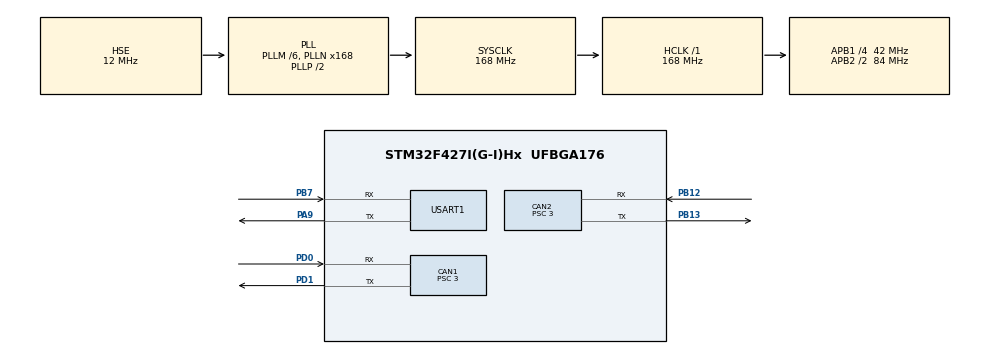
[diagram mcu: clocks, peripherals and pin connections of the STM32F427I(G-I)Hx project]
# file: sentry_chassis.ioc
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CAN1.BS1=CAN_BS1_9TQ
CAN1.BS2=CAN_BS2_4TQ
CAN1.CalculateBaudRate=1000000
CAN1.CalculateTimeBit=1000
CAN1.CalculateTimeQuantum=71.42857142857143
CAN1.Prescaler=3
CAN2.BS1=CAN_BS1_9TQ
CAN2.BS2=CAN_BS2_4TQ
CAN2.CalculateBaudRate=1000000
CAN2.CalculateTimeBit=1000
CAN2.CalculateTimeQuantum=71.42857142857143
CAN2.Prescaler=3
FREERTOS.Tasks01=ChassisTask,24,128,chassis_Task,Default,NULL,Dynamic,NULL,NULL;UartTask,8,128,Uart_task,Default,NULL,Dynamic,NULL,NULL;RemoteTask,8,128,Remote_Task,Default,NULL,Dynamic,NULL,NULL
FREERTOS.configUSE_NEWLIB_REENTRANT=1
Mcu.Family=STM32F4
Mcu.Name=STM32F427I(G-I)Hx
Mcu.Package=UFBGA176
NVIC.CAN1_RX1_IRQn=true\:5\:0\:false\:false\:true\:true\:true\:true\:true
NVIC.CAN1_TX_IRQn=true\:5\:0\:false\:false\:true\:true\:true\:true\:true
NVIC.CAN2_RX1_IRQn=true\:5\:0\:false\:false\:true\:true\:true\:true\:true
NVIC.CAN2_TX_IRQn=true\:5\:0\:false\:false\:true\:true\:true\:true\:true
NVIC.PriorityGroup=NVIC_PRIORITYGROUP_4
NVIC.TIM3_IRQn=true\:15\:0\:false\:false\:true\:false\:false\:true\:true
NVIC.TimeBase=TIM3_IRQn
NVIC.TimeBaseIP=TIM3
PA13.Mode=Serial_Wire
PA13.Signal=SYS_JTMS-SWDIO
PA14.Mode=Serial_Wire
PA14.Signal=SYS_JTCK-SWCLK
PA9.Mode=Asynchronous
PA9.Signal=USART1_TX
PB12.Mode=CAN_Activate
PB12.Signal=CAN2_RX
PB13.Mode=CAN_Activate
PB13.Signal=CAN2_TX
PB7.Mode=Asynchronous
PB7.Signal=USART1_RX
PD0.Mode=CAN_Activate
PD0.Signal=CAN1_RX
PD1.Mode=CAN_Activate
PD1.Signal=CAN1_TX
PH0/OSC_IN.Mode=HSE-External-Oscillator
PH0/OSC_IN.Signal=RCC_OSC_IN
PH1/OSC_OUT.Mode=HSE-External-Oscillator
PH1/OSC_OUT.Signal=RCC_OSC_OUT
ProjectManager.HeapSize=0x400
ProjectManager.StackSize=0x400
ProjectManager.TargetToolchain=STM32CubeIDE
RCC.48MHZClocksFreq_Value=84000000
RCC.AHBFreq_Value=168000000
RCC.APB1CLKDivider=RCC_HCLK_DIV4
RCC.APB1Freq_Value=42000000
RCC.APB1TimFreq_Value=84000000
RCC.APB2CLKDivider=RCC_HCLK_DIV2
RCC.APB2Freq_Value=84000000
RCC.APB2TimFreq_Value=168000000
RCC.CortexFreq_Value=168000000
RCC.HCLKFreq_Value=168000000
RCC.HSE_VALUE=12000000
RCC.HSI_VALUE=16000000
RCC.LSE_VALUE=32768
RCC.PLLM=6
RCC.PLLN=168
RCC.PLLSourceVirtual=RCC_PLLSOURCE_HSE
RCC.SYSCLKFreq_VALUE=168000000
RCC.SYSCLKSource=RCC_SYSCLKSOURCE_PLLCLK
RCC.VCOOutputFreq_Value=336000000
USART1.VirtualMode=VM_ASYNC
VP_FREERTOS_VS_CMSIS_V2.Mode=CMSIS_V2
VP_SYS_VS_tim3.Mode=TIM3
board=custom

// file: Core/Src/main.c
/* USER CODE BEGIN Header */
/**
  ******************************************************************************
  * @file           : main.c
  * @brief          : Main program body
  ******************************************************************************
  * @attention
  *
  * Copyright (c) 2024 STMicroelectronics.
  * All rights reserved.
  *
  * This software is licensed under terms that can be found in the LICENSE file
  * in the root directory of this software component.
  * If no LICENSE file comes with this software, it is provided AS-IS.
  *
  ******************************************************************************
  */
/* USER CODE END Header */
#include "main.h"
#include "cmsis_os.h"
#include "can.h"
#include "usart.h"
#include "gpio.h"

/* USER CODE BEGIN Includes */
#include "remote.h"
#include "bsp_can.h"
/* USER CODE END Includes */

void SystemClock_Config(void);
void MX_FREERTOS_Init(void);

/* USER CODE BEGIN 0 */
extern uint8_t UART_RECV[512];
/* USER CODE END 0 */

int main(void)
{

  /* MCU Configuration--------------------------------------------------------*/

  /* Reset of all peripherals, Initializes the Flash interface and the Systick. */
  HAL_Init();

  /* Configure the system clock */
  SystemClock_Config();

  /* Initialize all configured peripherals */
  MX_GPIO_Init();
  MX_CAN1_Init();
  MX_CAN2_Init();
  MX_USART1_UART_Init();
  /* USER CODE BEGIN 2 */
  can1_init();
  can2_init();
  RC_Init();
  /* USER CODE END 2 */

  /* Init scheduler */
  osKernelInitialize();

  /* Call init function for freertos objects (in cmsis_os2.c) */
  MX_FREERTOS_Init();

  /* Start scheduler */
  osKernelStart();

  /* We should never get here as control is now taken by the scheduler */

  /* Infinite loop */
  while (1)
  {

  }
}

void SystemClock_Config(void)
{
  RCC_OscInitTypeDef RCC_OscInitStruct = {0};
  RCC_ClkInitTypeDef RCC_ClkInitStruct = {0};

  /** Configure the main internal regulator output voltage
  */
  __HAL_RCC_PWR_CLK_ENABLE();
  __HAL_PWR_VOLTAGESCALING_CONFIG(PWR_REGULATOR_VOLTAGE_SCALE1);

  /** Initializes the RCC Oscillators according to the specified parameters
  * in the RCC_OscInitTypeDef structure.
  */
  RCC_OscInitStruct.OscillatorType = RCC_OSCILLATORTYPE_HSE;
  RCC_OscInitStruct.HSEState = RCC_HSE_ON;
  RCC_OscInitStruct.PLL.PLLState = RCC_PLL_ON;
  RCC_OscInitStruct.PLL.PLLSource = RCC_PLLSOURCE_HSE;
  RCC_OscInitStruct.PLL.PLLM = 6;
  RCC_OscInitStruct.PLL.PLLN = 168;
  RCC_OscInitStruct.PLL.PLLP = RCC_PLLP_DIV2;
  RCC_OscInitStruct.PLL.PLLQ = 4;
  if (HAL_RCC_OscConfig(&RCC_OscInitStruct) != HAL_OK)
  {
    Error_Handler();
  }

  /** Initializes the CPU, AHB and APB buses clocks
  */
  RCC_ClkInitStruct.ClockType = RCC_CLOCKTYPE_HCLK|RCC_CLOCKTYPE_SYSCLK
                              |RCC_CLOCKTYPE_PCLK1|RCC_CLOCKTYPE_PCLK2;
  RCC_ClkInitStruct.SYSCLKSource = RCC_SYSCLKSOURCE_PLLCLK;
  RCC_ClkInitStruct.AHBCLKDivider = RCC_SYSCLK_DIV1;
  RCC_ClkInitStruct.APB1CLKDivider = RCC_HCLK_DIV4;
  RCC_ClkInitStruct.APB2CLKDivider = RCC_HCLK_DIV2;

  if (HAL_RCC_ClockConfig(&RCC_ClkInitStruct, FLASH_LATENCY_5) != HAL_OK)
  {
    Error_Handler();
  }
}

/* USER CODE BEGIN 4 */
void HAL_UARTEx_RxEventCallback(UART_HandleTypeDef *huart, uint16_t Size)
{
    RemoteDataProcess(UART_RECV,&RC_CtrlData);
    if( huart==&huart1)
    {
        HAL_UARTEx_ReceiveToIdle_DMA(&huart1, UART_RECV, 117);
        __HAL_DMA_DISABLE_IT(huart1.hdmarx, DMA_IT_HT);
    }

}
/* USER CODE END 4 */

void HAL_TIM_PeriodElapsedCallback(TIM_HandleTypeDef *htim)
{
  if (htim->Instance == TIM3) {
    HAL_IncTick();
  }
}

void Error_Handler(void)
{
  __disable_irq();
  while (1)
  {
  }
}

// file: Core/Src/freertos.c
/* USER CODE BEGIN Header */
/**
  ******************************************************************************
  * File Name          : freertos.c
  * Description        : Code for freertos applications
  ******************************************************************************
  * @attention
  *
  * Copyright (c) 2024 STMicroelectronics.
  * All rights reserved.
  *
  * This software is licensed under terms that can be found in the LICENSE file
  * in the root directory of this software component.
  * If no LICENSE file comes with this software, it is provided AS-IS.
  *
  ******************************************************************************
  */
/* USER CODE END Header */

#include "FreeRTOS.h"
#include "task.h"
#include "main.h"
#include "cmsis_os.h"

/* USER CODE BEGIN Includes */
#include "chassis.h"
#include "bsp_uart.h"
/* USER CODE END Includes */

/* Definitions for ChassisTask */
osThreadId_t ChassisTaskHandle;
const osThreadAttr_t ChassisTask_attributes = {
  .name = "ChassisTask",
  .stack_size = 128 * 4,
  .priority = (osPriority_t) osPriorityNormal,
};
/* Definitions for UartTask */
osThreadId_t UartTaskHandle;
const osThreadAttr_t UartTask_attributes = {
  .name = "UartTask",
  .stack_size = 128 * 4,
  .priority = (osPriority_t) osPriorityLow,
};
/* Definitions for RemoteTask */
osThreadId_t RemoteTaskHandle;
const osThreadAttr_t RemoteTask_attributes = {
  .name = "RemoteTask",
  .stack_size = 128 * 4,
  .priority = (osPriority_t) osPriorityLow,
};

void chassis_Task(void *argument);
void Uart_task(void *argument);
void Remote_Task(void *argument);

void MX_FREERTOS_Init(void); /* (MISRA C 2004 rule 8.1) */

void MX_FREERTOS_Init(void) {

  /* Create the thread(s) */
  /* creation of ChassisTask */
  ChassisTaskHandle = osThreadNew(chassis_Task, NULL, &ChassisTask_attributes);

  /* creation of UartTask */
  UartTaskHandle = osThreadNew(Uart_task, NULL, &UartTask_attributes);

  /* creation of RemoteTask */
  RemoteTaskHandle = osThreadNew(Remote_Task, NULL, &RemoteTask_attributes);

}

void chassis_Task(void *argument)
{
  /* USER CODE BEGIN chassis_Task */
  /* Infinite loop */
  for(;;)
  {
      chassisTask();
      osDelay(1);
  }
  /* USER CODE END chassis_Task */
}

void Uart_task(void *argument)
{
  /* USER CODE BEGIN Uart_task */
  /* Infinite loop */
  for(;;)
  {
      UartTask();
      osDelay(1);
  }
  /* USER CODE END Uart_task */
}

void Remote_Task(void *argument)
{
  /* USER CODE BEGIN Remote_Task */
  /* Infinite loop */
  for(;;)
  {
      remoteTask();
      osDelay(1);
  }
  /* USER CODE END Remote_Task */
}
